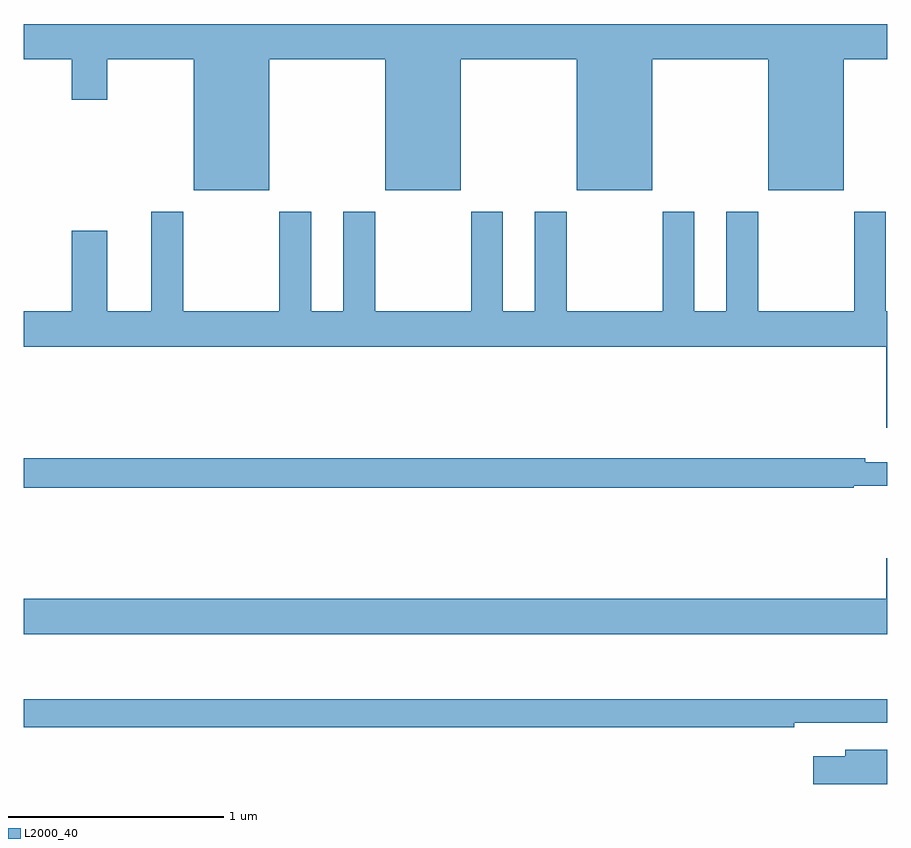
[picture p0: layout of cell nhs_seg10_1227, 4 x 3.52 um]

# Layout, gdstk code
import gdstk
lib = gdstk.Library(unit=1e-6, precision=1e-09)
def P(c, l, *ps):  # polygons
    for p in ps: c.add(gdstk.Polygon(p, *l))
L2000_40 = (2000, 40)

nhs_seg10_1227 = lib.new_cell('nhs_seg10_1227')
P(nhs_seg10_1227, L2000_40, [(174.136,1328.288),(174.674,1328.288),(174.674,1327.682),(175.024,1327.682),(175.024,1328.288),(175.562,1328.288),(175.562,1327.682),(175.912,1327.682),(175.912,1328.288),(176.45,1328.288),(176.45,1327.682),(176.8,1327.682),(176.8,1328.288),(177,1328.288),(177,1328.452),(173,1328.452),(173,1328.288),(173.222,1328.288),(173.222,1328.1),(173.386,1328.1),(173.386,1328.288),(173.786,1328.288),(173.786,1327.682),(174.136,1327.682)],
  [(177,1327.12),(176.995,1327.12),(176.995,1327.582),(176.848,1327.582),(176.848,1327.12),(176.403,1327.12),(176.403,1327.582),(176.255,1327.582),(176.255,1327.12),(176.107,1327.12),(176.107,1327.582),(175.96,1327.582),(175.96,1327.12),(175.515,1327.12),(175.515,1327.582),(175.367,1327.582),(175.367,1327.12),(175.219,1327.12),(175.219,1327.582),(175.072,1327.582),(175.072,1327.12),(174.627,1327.12),(174.627,1327.582),(174.479,1327.582),(174.479,1327.12),(174.331,1327.12),(174.331,1327.582),(174.184,1327.582),(174.184,1327.12),(173.739,1327.12),(173.739,1327.582),(173.591,1327.582),(173.591,1327.12),(173.386,1327.12),(173.386,1327.495),(173.222,1327.495),(173.222,1327.12),(173,1327.12),(173,1326.956),(176.996,1326.956),(176.996,1326.582),(177,1326.582)],
  [(176.845,1326.312),(177,1326.312),(177,1326.421),(176.9,1326.421),(176.9,1326.44),(173,1326.44),(173,1326.304),(176.845,1326.304)],
  [(177,1325.977),(176.996,1325.977),(176.996,1325.788),(173,1325.788),(173,1325.624),(177,1325.624)],
  [(176.57,1325.214),(177,1325.214),(177,1325.323),(173,1325.323),(173,1325.194),(176.57,1325.194)],
  [(177,1325.088),(176.807,1325.088),(176.807,1325.059),(176.658,1325.059),(176.658,1324.93),(177,1324.93)])

lib.write_gds('nhs_seg10_1227.gds')
